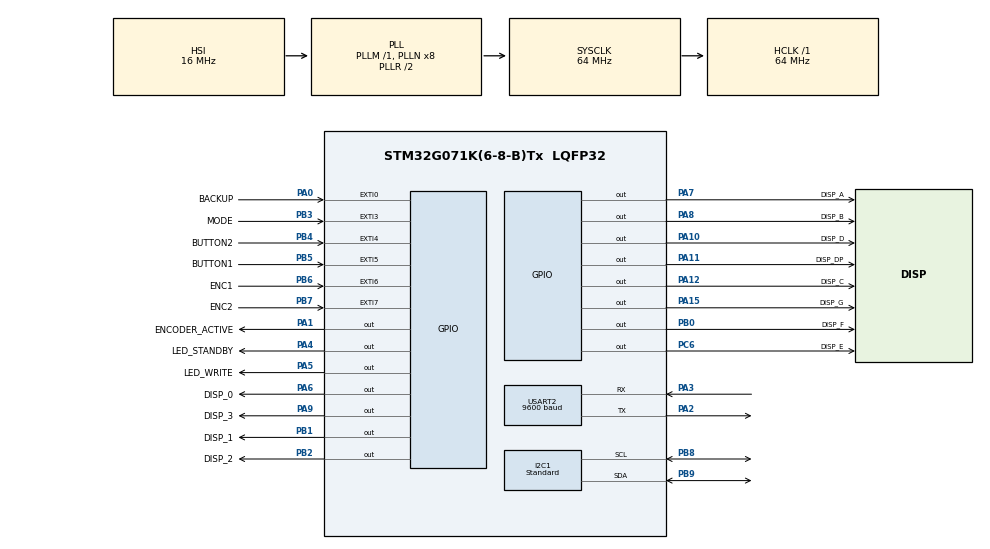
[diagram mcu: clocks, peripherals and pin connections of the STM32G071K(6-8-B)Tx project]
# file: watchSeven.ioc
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ADC1.Channel-4\#ChannelRegularConversion=ADC_CHANNEL_TEMPSENSOR
ADC1.ChannelTS=ADC_CHANNEL_TEMPSENSOR
ADC1.NbrOfConversionFlag=1
ADC1.Overrun=ADC_OVR_DATA_OVERWRITTEN
ADC1.OversamplingMode=ENABLE
ADC1.Rank-4\#ChannelRegularConversion=1
ADC1.Ratio=ADC_OVERSAMPLING_RATIO_16
ADC1.Resolution=ADC_RESOLUTION_12B
ADC1.RightBitShift=ADC_RIGHTBITSHIFT_4
ADC1.SamplingTime-4\#ChannelRegularConversion=ADC_SAMPLINGTIME_COMMON_1
ADC1.SamplingTimeCommon1=ADC_SAMPLETIME_79CYCLES_5
ADC1.SamplingTimeCommon2=ADC_SAMPLETIME_79CYCLES_5
ADC1.SelectedChannel=ADC_CHANNEL_TEMPSENSOR|ADC_CHANNEL_VREFINT
ADC1.master=1
I2C1.I2C_Speed_Mode=I2C_Standard
I2C1.Timing=0x10707DBC
Mcu.Family=STM32G0
Mcu.Name=STM32G071K(6-8-B)Tx
Mcu.Package=LQFP32
NVIC.EXTI0_1_IRQn=true\:0\:0\:false\:false\:true\:true\:true\:true
NVIC.EXTI2_3_IRQn=true\:0\:0\:false\:false\:true\:true\:true\:true
NVIC.EXTI4_15_IRQn=true\:0\:0\:false\:false\:true\:true\:true\:true
NVIC.RTC_TAMP_IRQn=true\:0\:0\:false\:false\:true\:true\:true\:true
NVIC.TIM1_BRK_UP_TRG_COM_IRQn=true\:0\:0\:false\:false\:true\:true\:true\:true
NVIC.TIM1_CC_IRQn=true\:0\:0\:false\:false\:true\:true\:true\:true
NVIC.TIM2_IRQn=true\:0\:0\:false\:false\:true\:true\:true\:true
NVIC.TIM3_IRQn=true\:0\:0\:false\:false\:true\:true\:true\:true
PA0.GPIO_Label=BACKUP
PA0.GPIO_ModeDefaultEXTI=GPIO_MODE_IT_RISING
PA0.GPIO_PuPd=GPIO_NOPULL
PA0.Signal=GPXTI0
PA1.GPIO_Label=ENCODER_ACTIVE
PA1.Signal=GPIO_Output
PA10.GPIO_Label=DISP_D
PA10.PinState=GPIO_PIN_SET
PA10.Signal=GPIO_Output
PA11\ [PA9].GPIO_Label=DISP_DP
PA11\ [PA9].PinState=GPIO_PIN_SET
PA11\ [PA9].Signal=GPIO_Output
PA12\ [PA10].GPIO_Label=DISP_C
PA12\ [PA10].PinState=GPIO_PIN_SET
PA12\ [PA10].Signal=GPIO_Output
PA13.Mode=Serial_Wire
PA13.Signal=SYS_SWDIO
PA14-BOOT0.Mode=Serial_Wire
PA14-BOOT0.Signal=SYS_SWCLK
PA15.GPIO_Label=DISP_G
PA15.PinState=GPIO_PIN_SET
PA15.Signal=GPIO_Output
PA2.Mode=Asynchronous
PA2.Signal=USART2_TX
PA3.Mode=Asynchronous
PA3.Signal=USART2_RX
PA4.GPIO_Label=LED_STANDBY
PA4.Signal=GPIO_Output
PA5.GPIO_Label=LED_WRITE
PA5.Signal=GPIO_Output
PA6.GPIO_Label=DISP_0
PA6.GPIO_Speed=GPIO_SPEED_FREQ_LOW
PA6.PinState=GPIO_PIN_SET
PA6.Signal=GPIO_Output
PA7.GPIO_Label=DISP_A
PA7.PinState=GPIO_PIN_SET
PA7.Signal=GPIO_Output
PA8.GPIO_Label=DISP_B
PA8.PinState=GPIO_PIN_SET
PA8.Signal=GPIO_Output
PA9.GPIO_Label=DISP_3
PA9.PinState=GPIO_PIN_SET
PA9.Signal=GPIO_Output
PB0.GPIO_Label=DISP_F
PB0.PinState=GPIO_PIN_SET
PB0.Signal=GPIO_Output
PB1.GPIO_Label=DISP_1
PB1.PinState=GPIO_PIN_SET
PB1.Signal=GPIO_Output
PB2.GPIO_Label=DISP_2
PB2.PinState=GPIO_PIN_SET
PB2.Signal=GPIO_Output
PB3.GPIO_Label=MODE
PB3.GPIO_ModeDefaultEXTI=GPIO_MODE_IT_RISING_FALLING
PB3.GPIO_PuPd=GPIO_PULLUP
PB3.Signal=GPXTI3
PB4.GPIO_Label=BUTTON2
PB4.GPIO_ModeDefaultEXTI=GPIO_MODE_IT_FALLING
PB4.GPIO_PuPd=GPIO_PULLUP
PB4.Signal=GPXTI4
PB5.GPIO_Label=BUTTON1
PB5.GPIO_ModeDefaultEXTI=GPIO_MODE_IT_FALLING
PB5.GPIO_PuPd=GPIO_PULLUP
PB5.Signal=GPXTI5
PB6.GPIO_Label=ENC1
PB6.GPIO_ModeDefaultEXTI=GPIO_MODE_IT_RISING_FALLING
PB6.GPIO_PuPd=GPIO_NOPULL
PB6.Signal=GPXTI6
PB7.GPIO_Label=ENC2
PB7.GPIO_ModeDefaultEXTI=GPIO_MODE_IT_RISING_FALLING
PB7.GPIO_PuPd=GPIO_NOPULL
PB7.Signal=GPXTI7
PB8.Mode=I2C
PB8.Signal=I2C1_SCL
PB9.Mode=I2C
PB9.Signal=I2C1_SDA
PC14-OSC32_IN\ (PC14).Mode=LSE-External-Oscillator
PC14-OSC32_IN\ (PC14).Signal=RCC_OSC32_IN
PC15-OSC32_OUT\ (PC15).Mode=LSE-External-Oscillator
PC15-OSC32_OUT\ (PC15).Signal=RCC_OSC32_OUT
PC6.GPIO_Label=DISP_E
PC6.PinState=GPIO_PIN_SET
PC6.Signal=GPIO_Output
ProjectManager.HeapSize=0x200
ProjectManager.StackSize=0x400
ProjectManager.TargetToolchain=STM32CubeIDE
RCC.ADCFreq_Value=64000000
RCC.AHBFreq_Value=64000000
RCC.CortexFreq_Value=64000000
RCC.EXTERNAL_CLOCK_VALUE=48000
RCC.HCLKFreq_Value=64000000
RCC.HSE_VALUE=8000000
RCC.HSI_VALUE=16000000
RCC.RTCClockSelection=RCC_RTCCLKSOURCE_LSE
RCC.SYSCLKFreq_VALUE=64000000
RCC.SYSCLKSource=RCC_SYSCLKSOURCE_PLLCLK
RCC.VCOOutputFreq_Value=128000000
RTC.Date=20
RTC.Format=RTC_FORMAT_BIN
RTC.Hours=21
RTC.Minutes=40
RTC.Month=RTC_MONTH_APRIL
RTC.WakeUpClock-WakeUp=RTC_WAKEUPCLOCK_CK_SPRE_16BITS
RTC.WakeUpCounter-WakeUp=20
RTC.Year=20
TIM1.Period=1999
TIM1.Prescaler=99
TIM2.Period=18499
TIM2.Prescaler=17299
TIM3.Period=6899
TIM3.Prescaler=9199
USART2.BaudRate=9600
USART2.VirtualMode-Asynchronous=VM_ASYNC
VP_ADC1_TempSens_Input.Mode=IN-TempSens
VP_ADC1_Vref_Input.Mode=IN-Vrefint
VP_CRC_VS_CRC.Mode=CRC_Activate
VP_RTC_VS_RTC_Activate.Mode=RTC_Enabled
VP_RTC_VS_RTC_Calendar.Mode=RTC_Calendar
VP_RTC_VS_RTC_WakeUp_intern.Mode=WakeUp
VP_SYS_VS_DBSignals.Mode=DisableDeadBatterySignals
VP_TIM1_VS_ClockSourceINT.Mode=Internal
VP_TIM2_VS_ClockSourceINT.Mode=Internal
VP_TIM3_VS_ClockSourceINT.Mode=Internal
board=custom

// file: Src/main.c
/* USER CODE BEGIN Header */
/**
 ******************************************************************************
 * @file           : main.c
 * @brief          : Main program body
 ******************************************************************************
 * @attention
 *
 * Copyright (c) 2022 STMicroelectronics.
 * All rights reserved.
 *
 * This software is licensed under terms that can be found in the LICENSE file
 * in the root directory of this software component.
 * If no LICENSE file comes with this software, it is provided AS-IS.
 *
 ******************************************************************************
 */

/*
 * Software for LEDnode
 *
 * changelog:
 * v1.1 altimeter with centimeters
 * v1.2 backup system, led blinking
 * v1.3 force/ondemand mode as status
 * v1.4 chrono start ad decimals, stop entry deleted
 * v1.5 fixed bug in chrono working only to 5h- from libra
 * v2.0 working compass with calibration
 *
 */
/* USER CODE END Header */
#include "main.h"

 ADC_HandleTypeDef hadc1;

I2C_HandleTypeDef hi2c1;

RTC_HandleTypeDef hrtc;

TIM_HandleTypeDef htim1;
TIM_HandleTypeDef htim2;
TIM_HandleTypeDef htim3;

UART_HandleTypeDef huart2;

/* USER CODE BEGIN PV */

//												DISPLAY INSTANCE CREATE
LEDdisplayTypeDef display;
//												MENU INSTANCE CREATE
MenuTypeDef menu;
//												CHRONOGRAPF INSTANCE CREATE
RTCChronoTypeDef chronograph;
//												BME280 INSTANCE CREATE
bme280TypeDef bme280;
//												LIS3MDL INSTANCE CREATE
lis3mdlTypeDef lis3mdl;

/* USER CODE END PV */

void SystemClock_Config(void);
static void MX_GPIO_Init(void);
static void MX_TIM1_Init(void);
static void MX_TIM2_Init(void);
static void MX_USART2_UART_Init(void);
static void MX_RTC_Init(void);
static void MX_ADC1_Init(void);
static void MX_TIM3_Init(void);
static void MX_I2C1_Init(void);
static void MX_CRC_Init(void);
/* USER CODE BEGIN PFP */

void LPsleep(void);
void LPwakeUp(void);
/* USER CODE END PFP */

int main(void)
{

  /* MCU Configuration--------------------------------------------------------*/

  /* Reset of all peripherals, Initializes the Flash interface and the Systick. */
  HAL_Init();

  /* Configure the system clock */
  SystemClock_Config();

  /* Initialize all configured peripherals */
  MX_GPIO_Init();
  MX_TIM1_Init();
  MX_TIM2_Init();
  MX_USART2_UART_Init();
  MX_RTC_Init();
  MX_ADC1_Init();
  MX_TIM3_Init();
  MX_I2C1_Init();
  MX_CRC_Init();
  /* USER CODE BEGIN 2 */
	HAL_TIM_Base_Start_IT(&htim1);
	HAL_TIM_Base_Start_IT(&htim2);
	HAL_TIM_Base_Start_IT(&htim3);

	adcInit(&hadc1);
	temperatureCorrection = -7;
	bme280.pressureReference = 1013;

//												DISPLAY PIN ASSIGNMENT
	LEDinit(&display, DISP_0_GPIO_Port, DISP_0_Pin, DISP_1_GPIO_Port,
	DISP_1_Pin,
	DISP_2_GPIO_Port, DISP_2_Pin, DISP_3_GPIO_Port, DISP_3_Pin,
	DISP_A_GPIO_Port, DISP_A_Pin, DISP_B_GPIO_Port, DISP_B_Pin,
	DISP_C_GPIO_Port, DISP_C_Pin, DISP_D_GPIO_Port, DISP_D_Pin,
	DISP_E_GPIO_Port, DISP_E_Pin, DISP_F_GPIO_Port, DISP_F_Pin,
	DISP_G_GPIO_Port, DISP_G_Pin, DISP_DP_GPIO_Port, DISP_DP_Pin);

	LEDseparator(&display, "    ");

	//												MENU ITEMS CONFIG
	//level 0
	menuItemInit(&menu, CLOCK, 0, MENU_NONE, 0, 1);
	menuItemInit(&menu, CHRONO, 0, MENU_NONE, CHRONO_HUNDREDTHS,
	CHRONO_RESET);

	menuItemInit(&menu, BAROMETER, 0, MENU_NONE, MENU_NONE, MENU_NONE);
	menuItemInit(&menu, HIGROMETER, 0, MENU_NONE, MENU_NONE, MENU_NONE);
	menuItemInit(&menu, TEMPERATURE, 0, MENU_NONE, MENU_NONE, MENU_NONE);
	menuItemInit(&menu, ALTITUDE, 0, MENU_NONE, MENU_NONE, MENU_NONE);
	menuItemInit(&menu, COMPASS, 0, MENU_NONE, MENU_NONE, MENU_NONE);

	menuItemInit(&menu, SETTINGS, 0, MENU_NONE, SETTINGS_CLOCK,
	SETTINGS_SAVE);

	//level 1
	menuItemInit(&menu, CLOCK_DATE, 1, CLOCK, MENU_NONE, MENU_NONE);
	menuItemInit(&menu, CLOCK_SECONDHAND, 1, CLOCK, MENU_NONE, MENU_NONE);
	menuItemInit(&menu, CHRONO_HUNDREDTHS, 1, CHRONO, MENU_NONE, MENU_NONE);
	menuItemInit(&menu, CHRONO_HOURS, 1, CHRONO, MENU_NONE, MENU_NONE);
	menuItemInit(&menu, CHRONO_RESET, 1, CHRONO, MENU_NONE, MENU_NONE);

	menuItemInit(&menu, SETTINGS_CLOCK, 1, SETTINGS, SETTINGS_CLOCK_HOUR,
	SETTINGS_CLOCK_SECONDS);
	menuItemInit(&menu, SETTINGS_CALENDAR, 1, SETTINGS,
	SETTINGS_CALENDAR_DAY,
	SETTINGS_CALENDAR_YEAR);
	menuItemInit(&menu, SETTINGS_CORRECTION, 1, SETTINGS,
	SETTINGS_CORRECTION_VALUE,
	SETTINGS_CORRECTION_VALUE);
	menuItemInit(&menu, SETTINGS_REFERENCE, 1, SETTINGS,
	SETTINGS_REFERENCE_VALUE,
	SETTINGS_REFERENCE_VALUE);
	menuItemInit(&menu, SETTINGS_SAVE, 1, SETTINGS,
	MENU_NONE,
	MENU_NONE);

	//level 2
	menuItemInit(&menu, SETTINGS_CLOCK_HOUR, 2, SETTINGS_CLOCK, MENU_NONE,
	MENU_NONE);
	menuItemInit(&menu, SETTINGS_CLOCK_MINUTE, 2, SETTINGS_CLOCK, MENU_NONE,
	MENU_NONE);
	menuItemInit(&menu, SETTINGS_CLOCK_SECONDS, 2, SETTINGS_CLOCK,
	MENU_NONE,
	MENU_NONE);
	menuItemInit(&menu, SETTINGS_CALENDAR_DAY, 2, SETTINGS_CALENDAR,
	MENU_NONE, MENU_NONE);
	menuItemInit(&menu, SETTINGS_CALENDAR_MONTH, 2, SETTINGS_CALENDAR,
	MENU_NONE, MENU_NONE);
	menuItemInit(&menu, SETTINGS_CALENDAR_YEAR, 2, SETTINGS_CALENDAR,
	MENU_NONE,
	MENU_NONE);
	menuItemInit(&menu, SETTINGS_CORRECTION_VALUE, 2, SETTINGS_CORRECTION,
	MENU_NONE, MENU_NONE);
	menuItemInit(&menu, SETTINGS_REFERENCE_VALUE, 2, SETTINGS_REFERENCE,
	MENU_NONE, MENU_NONE);

	//												MENU ITEMS CONSTANT VALUES
	//level 0
	menuItemChangeValue(&menu, SETTINGS, 0, "SEt", INTER_DISABLED,
	NOT_EDITABLE);

	//level 1
//	menuItemChangeValue(&menu, CHRONO_START, 1, "St  ", INTER_DISABLED,
//	NOT_EDITABLE);
	menuItemChangeValue(&menu, CHRONO_RESET, 1, "----", INTER_COLON,
	NOT_EDITABLE);
	menuItemChangeValue(&menu, SETTINGS_CLOCK, 1, "SC  ", INTER_DISABLED,
	NOT_EDITABLE);
	menuItemChangeValue(&menu, SETTINGS_CALENDAR, 1, "SCAL", INTER_DISABLED,
	NOT_EDITABLE);
	menuItemChangeValue(&menu, SETTINGS_CORRECTION, 1, "tC  ",
	INTER_DISABLED, NOT_EDITABLE);
	menuItemChangeValue(&menu, SETTINGS_REFERENCE, 1, "P0  ",
	INTER_DISABLED, NOT_EDITABLE);
	menuItemChangeValue(&menu, SETTINGS_SAVE, 1, "SA  ",
	INTER_DISABLED, NOT_EDITABLE);

	bme280Init(&bme280, &hi2c1);
	lis3mdlInit(&lis3mdl, &hi2c1);
	HAL_GPIO_WritePin(ENCODER_ACTIVE_GPIO_Port, ENCODER_ACTIVE_Pin, 1);
	HAL_Delay(20);
	menuResetCurrent(&menu);

	//										FLASH RESTORE SECTION

	backupInit();
	backupRestore(&chronograph);

	HAL_Delay(500);
	flags[FLAG_INITIALIZED] = 1;

  /* USER CODE END 2 */

  /* Infinite loop */
  /* USER CODE BEGIN WHILE */
	while (1) {

		//												NORMAL WORK
		if (!flags[FLAG_SLEEP]
				|| status[STATUS_MODE_SWITCH] == STATUS_MODE_SWITCH_FORCE) {
			//read RTC time
			rtcGetTime(&chronograph);

			//read sensor
			if ((menu.current.level == 0)) {

				bme280Read(&bme280);
				lis3mdlRead(&lis3mdl);
			}

			//write actual values to menu matrix
			interfaceWrite();

			//display current item
			if (display.transitionStatus == LED_TRANSITION_DISABLED) {
				interfaceShowActual();
			}

			//turn off standby LED
			HAL_GPIO_WritePin(LED_STANDBY_GPIO_Port, LED_STANDBY_Pin, 0);
		}

		//												LOW POWER SECTION
//		if (flags[FLAG_SLEEP] && HAL_GPIO_ReadPin(MODE_GPIO_Port, MODE_Pin)) {
		if (flags[FLAG_SLEEP]
				&& status[STATUS_MODE_SWITCH] == STATUS_MODE_SWITCH_ONDEMAND) {

			//go to sleep
			LPsleep();

			//when interrupt was caused by RTC, go to sleep
			while (status[STATUS_INT_SOURCE] == STATUS_INT_SOURCE_RTC) {
				lis3mdlRead(&lis3mdl);
				lis3mdlGetCalibrationSample(&lis3mdl);
				LPsleep();

			}

			//											AFTER WAKE UP

			//when interrupt was caused by external, wake up
			if (status[STATUS_INT_SOURCE] == STATUS_INT_SOURCE_EXTI) {
				LPwakeUp();
			}

		}

    /* USER CODE END WHILE */

	}
}

void SystemClock_Config(void)
{
  RCC_OscInitTypeDef RCC_OscInitStruct = {0};
  RCC_ClkInitTypeDef RCC_ClkInitStruct = {0};

  /** Configure the main internal regulator output voltage
  */
  HAL_PWREx_ControlVoltageScaling(PWR_REGULATOR_VOLTAGE_SCALE1);

  /** Configure LSE Drive Capability
  */
  HAL_PWR_EnableBkUpAccess();
  __HAL_RCC_LSEDRIVE_CONFIG(RCC_LSEDRIVE_LOW);

  /** Initializes the RCC Oscillators according to the specified parameters
  * in the RCC_OscInitTypeDef structure.
  */
  RCC_OscInitStruct.OscillatorType = RCC_OSCILLATORTYPE_HSI|RCC_OSCILLATORTYPE_LSE;
  RCC_OscInitStruct.LSEState = RCC_LSE_ON;
  RCC_OscInitStruct.HSIState = RCC_HSI_ON;
  RCC_OscInitStruct.HSIDiv = RCC_HSI_DIV1;
  RCC_OscInitStruct.HSICalibrationValue = RCC_HSICALIBRATION_DEFAULT;
  RCC_OscInitStruct.PLL.PLLState = RCC_PLL_ON;
  RCC_OscInitStruct.PLL.PLLSource = RCC_PLLSOURCE_HSI;
  RCC_OscInitStruct.PLL.PLLM = RCC_PLLM_DIV1;
  RCC_OscInitStruct.PLL.PLLN = 8;
  RCC_OscInitStruct.PLL.PLLP = RCC_PLLP_DIV2;
  RCC_OscInitStruct.PLL.PLLQ = RCC_PLLQ_DIV2;
  RCC_OscInitStruct.PLL.PLLR = RCC_PLLR_DIV2;
  if (HAL_RCC_OscConfig(&RCC_OscInitStruct) != HAL_OK)
  {
    Error_Handler();
  }

  /** Initializes the CPU, AHB and APB buses clocks
  */
  RCC_ClkInitStruct.ClockType = RCC_CLOCKTYPE_HCLK|RCC_CLOCKTYPE_SYSCLK
                              |RCC_CLOCKTYPE_PCLK1;
  RCC_ClkInitStruct.SYSCLKSource = RCC_SYSCLKSOURCE_PLLCLK;
  RCC_ClkInitStruct.AHBCLKDivider = RCC_SYSCLK_DIV1;
  RCC_ClkInitStruct.APB1CLKDivider = RCC_HCLK_DIV1;

  if (HAL_RCC_ClockConfig(&RCC_ClkInitStruct, FLASH_LATENCY_2) != HAL_OK)
  {
    Error_Handler();
  }
}

static void MX_ADC1_Init(void)
{

  ADC_ChannelConfTypeDef sConfig = {0};

  /** Configure the global features of the ADC (Clock, Resolution, Data Alignment and number of conversion)
  */
  hadc1.Instance = ADC1;
  hadc1.Init.ClockPrescaler = ADC_CLOCK_SYNC_PCLK_DIV2;
  hadc1.Init.Resolution = ADC_RESOLUTION_12B;
  hadc1.Init.DataAlign = ADC_DATAALIGN_RIGHT;
  hadc1.Init.ScanConvMode = ADC_SCAN_DISABLE;
  hadc1.Init.EOCSelection = ADC_EOC_SINGLE_CONV;
  hadc1.Init.LowPowerAutoWait = DISABLE;
  hadc1.Init.LowPowerAutoPowerOff = DISABLE;
  hadc1.Init.ContinuousConvMode = DISABLE;
  hadc1.Init.NbrOfConversion = 1;
  hadc1.Init.ExternalTrigConv = ADC_SOFTWARE_START;
  hadc1.Init.ExternalTrigConvEdge = ADC_EXTERNALTRIGCONVEDGE_NONE;
  hadc1.Init.DMAContinuousRequests = DISABLE;
  hadc1.Init.Overrun = ADC_OVR_DATA_OVERWRITTEN;
  hadc1.Init.SamplingTimeCommon1 = ADC_SAMPLETIME_79CYCLES_5;
  hadc1.Init.SamplingTimeCommon2 = ADC_SAMPLETIME_79CYCLES_5;
  hadc1.Init.OversamplingMode = ENABLE;
  hadc1.Init.Oversampling.Ratio = ADC_OVERSAMPLING_RATIO_16;
  hadc1.Init.Oversampling.RightBitShift = ADC_RIGHTBITSHIFT_4;
  hadc1.Init.Oversampling.TriggeredMode = ADC_TRIGGEREDMODE_SINGLE_TRIGGER;
  hadc1.Init.TriggerFrequencyMode = ADC_TRIGGER_FREQ_HIGH;
  if (HAL_ADC_Init(&hadc1) != HAL_OK)
  {
    Error_Handler();
  }

  /** Configure Regular Channel
  */
  sConfig.Channel = ADC_CHANNEL_TEMPSENSOR;
  sConfig.Rank = ADC_REGULAR_RANK_1;
  sConfig.SamplingTime = ADC_SAMPLINGTIME_COMMON_1;
  if (HAL_ADC_ConfigChannel(&hadc1, &sConfig) != HAL_OK)
  {
    Error_Handler();
  }

}

static void MX_CRC_Init(void)
{

  /* Peripheral clock enable */
  LL_AHB1_GRP1_EnableClock(LL_AHB1_GRP1_PERIPH_CRC);

  LL_CRC_SetInputDataReverseMode(CRC, LL_CRC_INDATA_REVERSE_NONE);
  LL_CRC_SetOutputDataReverseMode(CRC, LL_CRC_OUTDATA_REVERSE_NONE);
  LL_CRC_SetPolynomialCoef(CRC, LL_CRC_DEFAULT_CRC32_POLY);
  LL_CRC_SetPolynomialSize(CRC, LL_CRC_POLYLENGTH_32B);
  LL_CRC_SetInitialData(CRC, LL_CRC_DEFAULT_CRC_INITVALUE);

}

static void MX_I2C1_Init(void)
{

  hi2c1.Instance = I2C1;
  hi2c1.Init.Timing = 0x10707DBC;
  hi2c1.Init.OwnAddress1 = 0;
  hi2c1.Init.AddressingMode = I2C_ADDRESSINGMODE_7BIT;
  hi2c1.Init.DualAddressMode = I2C_DUALADDRESS_DISABLE;
  hi2c1.Init.OwnAddress2 = 0;
  hi2c1.Init.OwnAddress2Masks = I2C_OA2_NOMASK;
  hi2c1.Init.GeneralCallMode = I2C_GENERALCALL_DISABLE;
  hi2c1.Init.NoStretchMode = I2C_NOSTRETCH_DISABLE;
  if (HAL_I2C_Init(&hi2c1) != HAL_OK)
  {
    Error_Handler();
  }

  /** Configure Analogue filter
  */
  if (HAL_I2CEx_ConfigAnalogFilter(&hi2c1, I2C_ANALOGFILTER_ENABLE) != HAL_OK)
  {
    Error_Handler();
  }

  /** Configure Digital filter
  */
  if (HAL_I2CEx_ConfigDigitalFilter(&hi2c1, 0) != HAL_OK)
  {
    Error_Handler();
  }

}

static void MX_RTC_Init(void)
{

  RTC_TimeTypeDef sTime = {0};
  RTC_DateTypeDef sDate = {0};

  /** Initialize RTC Only
  */
  hrtc.Instance = RTC;
  hrtc.Init.HourFormat = RTC_HOURFORMAT_24;
  hrtc.Init.AsynchPrediv = 127;
  hrtc.Init.SynchPrediv = 255;
  hrtc.Init.OutPut = RTC_OUTPUT_DISABLE;
  hrtc.Init.OutPutRemap = RTC_OUTPUT_REMAP_NONE;
  hrtc.Init.OutPutPolarity = RTC_OUTPUT_POLARITY_HIGH;
  hrtc.Init.OutPutType = RTC_OUTPUT_TYPE_OPENDRAIN;
  hrtc.Init.OutPutPullUp = RTC_OUTPUT_PULLUP_NONE;
  if (HAL_RTC_Init(&hrtc) != HAL_OK)
  {
    Error_Handler();
  }

  /** Initialize RTC and set the Time and Date
  */
  sTime.Hours = 21;
  sTime.Minutes = 40;
  sTime.Seconds = 0;
  sTime.SubSeconds = 0;
  sTime.DayLightSaving = RTC_DAYLIGHTSAVING_NONE;
  sTime.StoreOperation = RTC_STOREOPERATION_RESET;
  if (HAL_RTC_SetTime(&hrtc, &sTime, RTC_FORMAT_BIN) != HAL_OK)
  {
    Error_Handler();
  }
  sDate.WeekDay = RTC_WEEKDAY_MONDAY;
  sDate.Month = RTC_MONTH_APRIL;
  sDate.Date = 20;
  sDate.Year = 20;

  if (HAL_RTC_SetDate(&hrtc, &sDate, RTC_FORMAT_BIN) != HAL_OK)
  {
    Error_Handler();
  }

  /** Enable the WakeUp
  */
  if (HAL_RTCEx_SetWakeUpTimer_IT(&hrtc, 20, RTC_WAKEUPCLOCK_CK_SPRE_16BITS) != HAL_OK)
  {
    Error_Handler();
  }

}

static void MX_TIM1_Init(void)
{

  TIM_ClockConfigTypeDef sClockSourceConfig = {0};
  TIM_MasterConfigTypeDef sMasterConfig = {0};

  htim1.Instance = TIM1;
  htim1.Init.Prescaler = 99;
  htim1.Init.CounterMode = TIM_COUNTERMODE_UP;
  htim1.Init.Period = 1999;
  htim1.Init.ClockDivision = TIM_CLOCKDIVISION_DIV1;
  htim1.Init.RepetitionCounter = 0;
  htim1.Init.AutoReloadPreload = TIM_AUTORELOAD_PRELOAD_DISABLE;
  if (HAL_TIM_Base_Init(&htim1) != HAL_OK)
  {
    Error_Handler();
  }
  sClockSourceConfig.ClockSource = TIM_CLOCKSOURCE_INTERNAL;
  if (HAL_TIM_ConfigClockSource(&htim1, &sClockSourceConfig) != HAL_OK)
  {
    Error_Handler();
  }
  sMasterConfig.MasterOutputTrigger = TIM_TRGO_RESET;
  sMasterConfig.MasterOutputTrigger2 = TIM_TRGO2_RESET;
  sMasterConfig.MasterSlaveMode = TIM_MASTERSLAVEMODE_DISABLE;
  if (HAL_TIMEx_MasterConfigSynchronization(&htim1, &sMasterConfig) != HAL_OK)
  {
    Error_Handler();
  }

}

static void MX_TIM2_Init(void)
{

  TIM_ClockConfigTypeDef sClockSourceConfig = {0};
  TIM_MasterConfigTypeDef sMasterConfig = {0};

  htim2.Instance = TIM2;
  htim2.Init.Prescaler = 17299;
  htim2.Init.CounterMode = TIM_COUNTERMODE_UP;
  htim2.Init.Period = 18499;
  htim2.Init.ClockDivision = TIM_CLOCKDIVISION_DIV1;
  htim2.Init.AutoReloadPreload = TIM_AUTORELOAD_PRELOAD_DISABLE;
  if (HAL_TIM_Base_Init(&htim2) != HAL_OK)
  {
    Error_Handler();
  }
  sClockSourceConfig.ClockSource = TIM_CLOCKSOURCE_INTERNAL;
  if (HAL_TIM_ConfigClockSource(&htim2, &sClockSourceConfig) != HAL_OK)
  {
    Error_Handler();
  }
  sMasterConfig.MasterOutputTrigger = TIM_TRGO_RESET;
  sMasterConfig.MasterSlaveMode = TIM_MASTERSLAVEMODE_DISABLE;
  if (HAL_TIMEx_MasterConfigSynchronization(&htim2, &sMasterConfig) != HAL_OK)
  {
    Error_Handler();
  }

}

static void MX_TIM3_Init(void)
{

  TIM_ClockConfigTypeDef sClockSourceConfig = {0};
  TIM_MasterConfigTypeDef sMasterConfig = {0};

  htim3.Instance = TIM3;
  htim3.Init.Prescaler = 9199;
  htim3.Init.CounterMode = TIM_COUNTERMODE_UP;
  htim3.Init.Period = 6899;
  htim3.Init.ClockDivision = TIM_CLOCKDIVISION_DIV1;
  htim3.Init.AutoReloadPreload = TIM_AUTORELOAD_PRELOAD_DISABLE;
  if (HAL_TIM_Base_Init(&htim3) != HAL_OK)
  {
    Error_Handler();
  }
  sClockSourceConfig.ClockSource = TIM_CLOCKSOURCE_INTERNAL;
  if (HAL_TIM_ConfigClockSource(&htim3, &sClockSourceConfig) != HAL_OK)
  {
    Error_Handler();
  }
  sMasterConfig.MasterOutputTrigger = TIM_TRGO_RESET;
  sMasterConfig.MasterSlaveMode = TIM_MASTERSLAVEMODE_DISABLE;
  if (HAL_TIMEx_MasterConfigSynchronization(&htim3, &sMasterConfig) != HAL_OK)
  {
    Error_Handler();
  }

}

static void MX_USART2_UART_Init(void)
{

  huart2.Instance = USART2;
  huart2.Init.BaudRate = 9600;
  huart2.Init.WordLength = UART_WORDLENGTH_8B;
  huart2.Init.StopBits = UART_STOPBITS_1;
  huart2.Init.Parity = UART_PARITY_NONE;
  huart2.Init.Mode = UART_MODE_TX_RX;
  huart2.Init.HwFlowCtl = UART_HWCONTROL_NONE;
  huart2.Init.OverSampling = UART_OVERSAMPLING_16;
  huart2.Init.OneBitSampling = UART_ONE_BIT_SAMPLE_DISABLE;
  huart2.Init.ClockPrescaler = UART_PRESCALER_DIV1;
  huart2.AdvancedInit.AdvFeatureInit = UART_ADVFEATURE_NO_INIT;
  if (HAL_UART_Init(&huart2) != HAL_OK)
  {
    Error_Handler();
  }
  if (HAL_UARTEx_SetTxFifoThreshold(&huart2, UART_TXFIFO_THRESHOLD_1_8) != HAL_OK)
  {
    Error_Handler();
  }
  if (HAL_UARTEx_SetRxFifoThreshold(&huart2, UART_RXFIFO_THRESHOLD_1_8) != HAL_OK)
  {
    Error_Handler();
  }
  if (HAL_UARTEx_DisableFifoMode(&huart2) != HAL_OK)
  {
    Error_Handler();
  }

}

static void MX_GPIO_Init(void)
{
  GPIO_InitTypeDef GPIO_InitStruct = {0};

  /* GPIO Ports Clock Enable */
  __HAL_RCC_GPIOB_CLK_ENABLE();
  __HAL_RCC_GPIOC_CLK_ENABLE();
  __HAL_RCC_GPIOA_CLK_ENABLE();

  /*Configure GPIO pin Output Level */
  HAL_GPIO_WritePin(GPIOA, ENCODER_ACTIVE_Pin|LED_STANDBY_Pin|LED_WRITE_Pin, GPIO_PIN_RESET);

  /*Configure GPIO pin Output Level */
  HAL_GPIO_WritePin(GPIOA, DISP_0_Pin|DISP_A_Pin|DISP_B_Pin|DISP_3_Pin
                          |DISP_D_Pin|DISP_DP_Pin|DISP_C_Pin|DISP_G_Pin, GPIO_PIN_SET);

  /*Configure GPIO pin Output Level */
  HAL_GPIO_WritePin(GPIOB, DISP_F_Pin|DISP_1_Pin|DISP_2_Pin, GPIO_PIN_SET);

  /*Configure GPIO pin Output Level */
  HAL_GPIO_WritePin(DISP_E_GPIO_Port, DISP_E_Pin, GPIO_PIN_SET);

  /*Configure GPIO pin : BACKUP_Pin */
  GPIO_InitStruct.Pin = BACKUP_Pin;
  GPIO_InitStruct.Mode = GPIO_MODE_IT_RISING;
  GPIO_InitStruct.Pull = GPIO_NOPULL;
  HAL_GPIO_Init(BACKUP_GPIO_Port, &GPIO_InitStruct);

  /*Configure GPIO pins : ENCODER_ACTIVE_Pin LED_STANDBY_Pin LED_WRITE_Pin DISP_0_Pin
                           DISP_A_Pin DISP_B_Pin DISP_3_Pin DISP_D_Pin
                           DISP_DP_Pin DISP_C_Pin DISP_G_Pin */
  GPIO_InitStruct.Pin = ENCODER_ACTIVE_Pin|LED_STANDBY_Pin|LED_WRITE_Pin|DISP_0_Pin
                          |DISP_A_Pin|DISP_B_Pin|DISP_3_Pin|DISP_D_Pin
                          |DISP_DP_Pin|DISP_C_Pin|DISP_G_Pin;
  GPIO_InitStruct.Mode = GPIO_MODE_OUTPUT_PP;
  GPIO_InitStruct.Pull = GPIO_NOPULL;
  GPIO_InitStruct.Speed = GPIO_SPEED_FREQ_LOW;
  HAL_GPIO_Init(GPIOA, &GPIO_InitStruct);

  /*Configure GPIO pins : DISP_F_Pin DISP_1_Pin DISP_2_Pin */
  GPIO_InitStruct.Pin = DISP_F_Pin|DISP_1_Pin|DISP_2_Pin;
  GPIO_InitStruct.Mode = GPIO_MODE_OUTPUT_PP;
  GPIO_InitStruct.Pull = GPIO_NOPULL;
  GPIO_InitStruct.Speed = GPIO_SPEED_FREQ_LOW;
  HAL_GPIO_Init(GPIOB, &GPIO_InitStruct);

  /*Configure GPIO pin : DISP_E_Pin */
  GPIO_InitStruct.Pin = DISP_E_Pin;
  GPIO_InitStruct.Mode = GPIO_MODE_OUTPUT_PP;
  GPIO_InitStruct.Pull = GPIO_NOPULL;
  GPIO_InitStruct.Speed = GPIO_SPEED_FREQ_LOW;
  HAL_GPIO_Init(DISP_E_GPIO_Port, &GPIO_InitStruct);

  /*Configure GPIO pin : MODE_Pin */
  GPIO_InitStruct.Pin = MODE_Pin;
  GPIO_InitStruct.Mode = GPIO_MODE_IT_RISING_FALLING;
  GPIO_InitStruct.Pull = GPIO_PULLUP;
  HAL_GPIO_Init(MODE_GPIO_Port, &GPIO_InitStruct);

  /*Configure GPIO pins : BUTTON2_Pin BUTTON1_Pin */
  GPIO_InitStruct.Pin = BUTTON2_Pin|BUTTON1_Pin;
  GPIO_InitStruct.Mode = GPIO_MODE_IT_FALLING;
  GPIO_InitStruct.Pull = GPIO_PULLUP;
  HAL_GPIO_Init(GPIOB, &GPIO_InitStruct);

  /*Configure GPIO pins : ENC1_Pin ENC2_Pin */
  GPIO_InitStruct.Pin = ENC1_Pin|ENC2_Pin;
  GPIO_InitStruct.Mode = GPIO_MODE_IT_RISING_FALLING;
  GPIO_InitStruct.Pull = GPIO_NOPULL;
  HAL_GPIO_Init(GPIOB, &GPIO_InitStruct);

  /* EXTI interrupt init*/
  HAL_NVIC_SetPriority(EXTI0_1_IRQn, 0, 0);
  HAL_NVIC_EnableIRQ(EXTI0_1_IRQn);

  HAL_NVIC_SetPriority(EXTI2_3_IRQn, 0, 0);
  HAL_NVIC_EnableIRQ(EXTI2_3_IRQn);

  HAL_NVIC_SetPriority(EXTI4_15_IRQn, 0, 0);
  HAL_NVIC_EnableIRQ(EXTI4_15_IRQn);

}

/* USER CODE BEGIN 4 */
void LPsleep(void) {
	HAL_TIM_Base_Stop_IT(&htim1);
	LEDclear(&display);
	flags[FLAG_SLEEP] = 0;
	HAL_GPIO_WritePin(ENCODER_ACTIVE_GPIO_Port, ENCODER_ACTIVE_Pin, 0);
	HAL_Delay(10);
	HAL_GPIO_WritePin(LED_WRITE_GPIO_Port, LED_WRITE_Pin, 0);
	HAL_GPIO_WritePin(LED_STANDBY_GPIO_Port, LED_STANDBY_Pin, 0);
	HAL_PWR_EnterSTOPMode(PWR_LOWPOWERREGULATOR_ON,
	PWR_STOPENTRY_WFI);
}

void LPwakeUp(void) {
	SystemClock_Config();
	HAL_GPIO_WritePin(ENCODER_ACTIVE_GPIO_Port, ENCODER_ACTIVE_Pin, 1);
	HAL_Delay(10);
	menuResetCurrent(&menu);
	flags[FLAG_LOCKED] = 0;
	HAL_TIM_Base_Start_IT(&htim1);
}
/* USER CODE END 4 */

void Error_Handler(void)
{
	__disable_irq();
	while (1) {
	}
}
